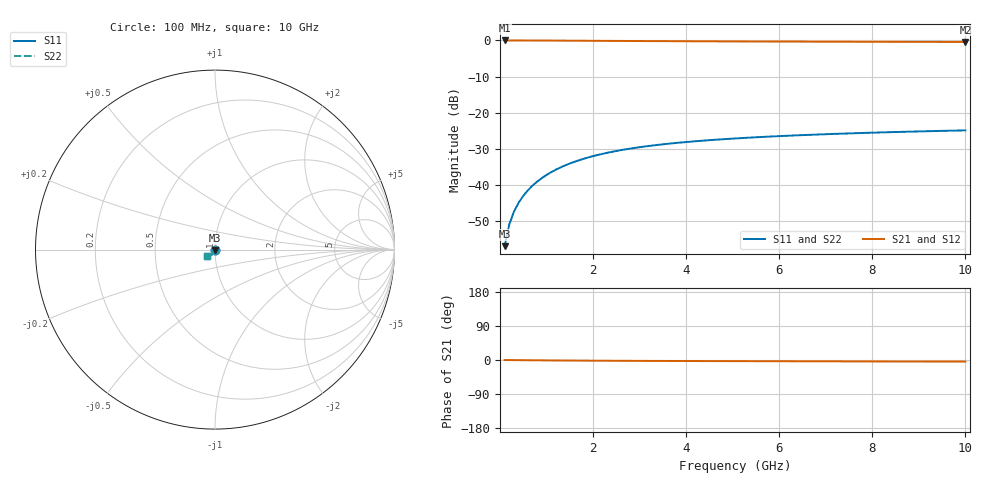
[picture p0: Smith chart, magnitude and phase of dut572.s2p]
! Touchstone file exported from HFSS 2024.1.0
!  File:  C:/UserFiles/LocalFiles/RDL_TSV_Batchsim/temp_TSV1_572_1779708334.aedt
!  Generated:  07:30:54 PM May 25, 2026
!  Design:  TSV1
!  Project:  temp_TSV1_572_1779708334
!  Setup:  Setup1
!  Solution:  Sweep
! Variables:
!  dtsv = 14.73um
!  hbump = 3um
!  htsv = 58.52um
!  lrdl = 252.1521522um
!  p = 40
!  p1 = 40.38um
!  t = 500um
!  trdl = 3um
!  wrdl = 24.89489489um
# GHz S MA R 50.000000
! Terminal data exported
! Port[1] = TSV22_T1
! Port[2] = TSV22_T2
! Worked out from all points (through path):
!   100 points, 100 MHz to 10 GHz, reference 50 ohm
!   highest |S21| = 0.00 dB at 100 MHz (marker M1); lowest = -0.4 dB at 10 GHz (marker M2)
!   lowest |S11| = -56.9 dB at 100 MHz (marker M3), VSWR 1.00, Z = 50 - j0.143 ohm
!   |S11| at or under -10 dB: start of sweep to end of sweep
!   |S22| runs from -56.9 to -24.9 dB; largest |S21 - S12| = 2.4e-15
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0.1  0.001435 -88.5  0.9999 -0.1  0.9999 -0.1  0.001435 -88.5
! Gamma 0 0 0 0
! Port Impedance 50 0 50 0
0.2  0.002865 -91.4  0.9998 -0.2  0.9998 -0.2  0.002865 -91.4
0.3  0.004289 -93.3  0.9996 -0.3  0.9996 -0.3  0.004289 -93.3
0.4  0.005704 -95.0  0.9994 -0.4  0.9994 -0.4  0.005704 -95.0
0.5  0.007108 -96.6  0.999 -0.5  0.999 -0.5  0.007108 -96.6
0.6  0.008496 -98.0  0.9987 -0.6  0.9987 -0.6  0.008496 -98.0
0.7  0.009867 -99.5  0.9982 -0.7  0.9982 -0.7  0.009867 -99.5
0.8  0.01122 -100.9  0.9977 -0.8  0.9977 -0.8  0.01122 -100.9
0.9  0.01254 -102.2  0.9972 -0.9  0.9972 -0.9  0.01254 -102.2
1.1  0.01512 -104.8  0.9959 -1.1  0.9959 -1.1  0.01512 -104.8
1.4  0.01876 -108.5  0.9938 -1.4  0.9938 -1.4  0.01876 -108.5
1.6  0.02103 -110.8  0.9923 -1.5  0.9923 -1.5  0.02103 -110.8
1.8  0.02317 -112.9  0.9907 -1.6  0.9907 -1.6  0.02317 -112.9
2.1  0.02614 -115.9  0.9884 -1.8  0.9884 -1.8  0.02614 -115.9
2.5  0.02966 -119.5  0.9853 -2.1  0.9853 -2.1  0.02966 -119.5
2.9  0.03275 -122.6  0.9823 -2.3  0.9823 -2.3  0.03275 -122.6
3.4  0.03608 -125.9  0.9789 -2.5  0.9789 -2.5  0.03608 -125.9
4.2  0.04046 -130.2  0.974 -2.7  0.974 -2.7  0.04046 -130.2
5.1  0.04439 -133.8  0.9694 -3.0  0.9694 -3.0  0.04439 -133.8
6.7  0.04976 -138.4  0.9629 -3.4  0.9629 -3.4  0.04976 -138.4
8.4  0.05404 -141.7  0.9578 -3.9  0.9578 -3.9  0.05404 -141.7
10  0.05718 -144.1  0.9541 -4.2  0.9541 -4.2  0.05718 -144.1
